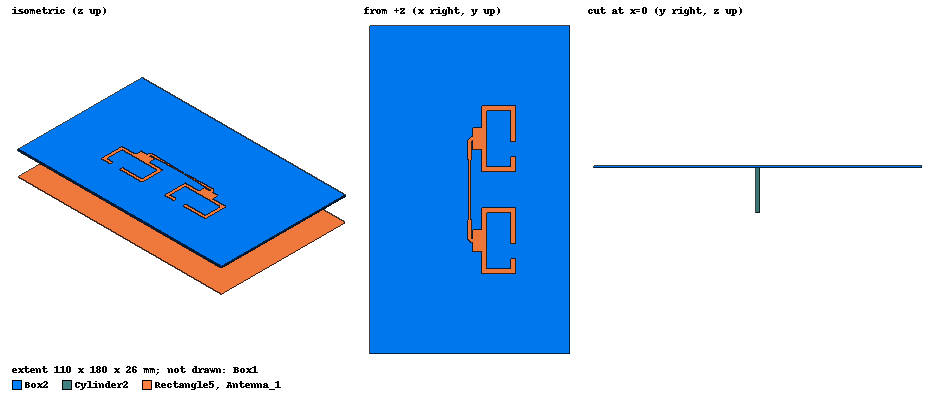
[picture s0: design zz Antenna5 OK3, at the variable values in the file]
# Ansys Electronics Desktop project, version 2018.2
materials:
  vacuum: permittivity=1
  Taconic TLT (tm): permittivity=2.65 dielectric_loss_tangent=0.0006
  pec: conductivity=1e+30
  PTFE: permittivity=3.3
  copper: permeability=0.999991 conductivity=58000000
  Material1: permittivity=2

design zz Antenna5 OK3 (HFSS, DrivenModal, model units mm)
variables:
  SubW = 60mm
  SubL = 54mm
  AirBoxH = 25mm
  SubH = 1mm
  m = 25
  TraceW = 2mm
  ViaR = (0.53/2) mm
  ViaOutR = (1.68/2) mm
  GroundL = 8mm
  GroundW = 2mm
  TraceLGround = 5mm
  TraceUpW = 0.6mm
  TraceUpL = TraceUpW
  PortW = 9mm
  PortH = 5mm
  RingR = 0.75mm
  GroundW2 = GroundL
  MoveX = 16mm
  AntennaW = 18.5mm
  MoveY = SubL/2+TraceW/2
  AntennaL = 36.2mm
  StripW = 2.5mm
  BlankL = 8mm
  BiasBlank = 1.8mm
  SubWAll = 110mm
  SubLAll = 180mm
  MatchL = 12mm
  MatchW = 5mm
  BackGroundH = 20mm
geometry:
  Box1 [vacuum] = box(corner=(-SubWAll/2, -SubLAll/2, -SubH*m), size=(SubWAll, SubLAll, AirBoxH+SubH*m))
  Box2 [Taconic TLT (tm)] = box(corner=(-SubWAll/2, -SubLAll/2, 0mm), size=(SubWAll, SubLAll, SubH))
  Ground = rectangle(corner=(-GroundW2/2, -GroundL/2, 0mm), x_size=GroundW2, y_size=GroundL)
  Trace = rectangle(corner=(-TraceW/2, -SubL/2, SubH), x_size=TraceW, y_size=TraceLGround)
  Cylinder1 [pec] = cylinder(axis=Z, base_centre=(0mm, 0mm, SubH), radius=ViaR, height=-SubH*(m+1))
  Cylinder2 [Material1] = cylinder(axis=Z, base_centre=(0mm, 0mm, 0mm), radius=ViaOutR, height=-SubH*m)
  Circle1 = circle(normal=Z, centre=(0mm, 0mm, 0mm), radius=ViaOutR)
  Ground.subtract(Circle1)
  Trace_Ground = rectangle(corner=(-TraceW/2, -SubL/2, 0), x_size=TraceW, y_size=TraceLGround)
  Polyline1 = polyline(z=0mm, xy: (-GroundW/2, -GroundL/2) (GroundW/2, -GroundL/2) (TraceW/2, -SubL/2+TraceLGround) (-TraceW/2, -SubL/2+TraceLGround) (-GroundW/2, -GroundL/2), closed, covered)
  TraceUp = rectangle(corner=(-TraceUpW/2, -TraceUpL/2, SubH), x_size=TraceUpW, y_size=TraceUpL)
  Polyline2 = polyline(z=SubH, xy: (-TraceUpW/2, -TraceUpL/2) (TraceUpW/2, -TraceUpL/2) (TraceW/2, -SubL/2+TraceLGround) (-TraceW/2, -SubL/2+TraceLGround) (-TraceUpW/2, -TraceUpL/2), closed, covered)
  Trace.unite(TraceUp, Polyline2)
  Trace_Ground.unite(Ground, Polyline1)
  Trace_1 = Trace.duplicate_mirror(point=(0mm, 0mm, 0mm), normal=(0mm, 1mm, 0mm))
  Trace_Ground_1 = Trace_Ground.duplicate_mirror(point=(0mm, 0mm, 0mm), normal=(0mm, 1mm, 0mm))
  Trace.unite(Trace_1)
  Trace_Ground.unite(Trace_Ground_1)
  Cylinder1_1 = Cylinder1.copy()
  Cylinder2.subtract(Cylinder1_1)
  Cylinder2_1 = Cylinder2.copy()
  Box2.subtract(Cylinder2_1)
  Cylinder1_2 = Cylinder1.copy()
  Box2.subtract(Cylinder1_2)
  Circle2 = circle(normal=Z, centre=(0mm, 0mm, SubH), radius=RingR)
  Trace.unite(Circle2)
  Antenna = rectangle(corner=(-AntennaW/2, -AntennaL/2, SubH), x_size=StripW, y_size=AntennaL)
  Rectangle2 = rectangle(corner=(-AntennaW/2, -AntennaL/2, SubH), x_size=AntennaW, y_size=StripW)
  Rectangle3 = rectangle(corner=(-AntennaW/2, AntennaL/2, SubH), x_size=AntennaW, y_size=-StripW)
  Rectangle4 = rectangle(corner=(AntennaW/2, -AntennaL/2, SubH), x_size=-StripW, y_size=AntennaL)
  Antenna.unite(Rectangle2, Rectangle3, Rectangle4)
  Blank = rectangle(corner=(-AntennaW/2, BiasBlank, SubH), x_size=StripW, y_size=BlankL)
  Antenna.subtract(Blank)
  Match = rectangle(corner=(AntennaW/2, -MatchL/2, SubH), x_size=MatchW, y_size=MatchL)
  Antenna.unite(Match)
  Antenna_1 = Antenna.duplicate_mirror(point=(0mm, 0mm, 0mm), normal=(1mm, 0mm, 0mm))
  Antenna_1.mirror(point=(0mm, 0mm, 0mm), normal=(0mm, -1mm, 0mm))
  Antenna.move(-MoveX, -MoveY, 0mm)
  Antenna_1.move(MoveX, -MoveY, 0mm)
  Corner = polyline(z=SubH, xy: (-TraceW/2, -SubL/2) (TraceW/2, -SubL/2) (TraceW/2, -SubL/2-TraceW) (-TraceW/2, -SubL/2), closed, covered)
  Match2 = rectangle(corner=(TraceW/2, -SubL/2-TraceW, SubH), x_size=MoveX-TraceW/2-AntennaW/2, y_size=TraceW)
  Antenna.move(0mm, 0mm, -SubH)
  Corner2 = polyline(z=0mm, xy: (-TraceW/2, -SubL/2) (-TraceW/2, -SubL/2-TraceW) (TraceW/2, -SubL/2) (-TraceW/2, -SubL/2), closed, covered)
  Match2_2 = rectangle(corner=(-TraceW/2, -SubL/2-TraceW, 0), x_size=-(MoveX-TraceW/2-AntennaW/2), y_size=TraceW)
  Antenna.unite(Match2_2)
  Antenna_1.unite(Match2)
  Antenna_2 = Antenna.duplicate_along_line(step=(0mm, MoveY*2, 0mm), total=2)
  Antenna_1_1 = Antenna_1.duplicate_along_line(step=(0mm, MoveY*2, 0mm), total=2)
  Corner_1 = Corner.duplicate_mirror(point=(0mm, 0mm, 0mm), normal=(0mm, 1mm, 0mm))
  Corner2_1 = Corner2.duplicate_mirror(point=(0mm, 0mm, 0mm), normal=(0mm, 1mm, 0mm))
  Antenna_1.unite(Antenna_1_1, Corner_1, Corner)
  Antenna.unite(Antenna_2, Corner2, Corner2_1)
  Antenna.unite(Trace_Ground)
  Antenna_1.unite(Trace)
  Rectangle5 = rectangle(corner=(-SubWAll/2, -SubLAll/2, -BackGroundH), x_size=SubWAll, y_size=SubLAll)
  Circle3 = circle(normal=Z, centre=(0mm, 0mm, -BackGroundH), radius=3mm)
  Rectangle5.subtract(Circle3)
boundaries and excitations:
  PerfE3: Perfect E Faces=Cylinder2.face(1 of 3)
  Rad1: Radiation Objects=Box1
  Antenna: Perfect E Objects=Antenna
  Antenna_1: Perfect E Objects=Antenna_1
  BackGround: Perfect E Objects=Rectangle5
  1: Wave Port Faces=Cylinder2.face(2 of 3) NumModes=1 Modes{Mode1{CharImp=Zpi}}
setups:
  Setup1: HfssDriven Frequency=4GHz MaxDeltaS=0.01 MaximumPasses=20 MinimumPasses=1 MinimumConvergedPasses=1 PercentRefinement=30 BasisOrder=1 PortAccuracy=2
    sweep Sweep: 3GHz to 5GHz, 41 points; Type=Discrete SaveFields SaveRadFields
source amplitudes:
  1:1: 1W 0deg
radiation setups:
  Infinite Sphere1: Infinite Sphere Theta=-180deg..180deg step 1deg Phi=0deg..90deg step 90deg
  Infinite Sphere2: Infinite Sphere Theta=0deg..180deg step 0deg Phi=90deg..180deg step 0deg
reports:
  S Parameter Plot 1: dB(S(1,1)) vs Freq on Setup1 : Sweep [MoveX=all MatchL=all MatchW=all]; markers m1 at 4.4355556GHz
  Gain Plot 1: dB(GainTotal) vs Theta on Setup1 : LastAdaptive, Infinite Sphere1 [Phi=0deg Freq=4GHz MatchL=all]; dB(GainTotal) vs Theta on Setup1 : LastAdaptive, Infinite Sphere1 [Phi=90deg Freq=4GHz MatchL=all]; markers m1 at -4deg, m2 at 1deg, m3 at 22deg, m4 at -28deg, m5 at -16deg, m6 at 15deg
  Port Zo Plot 1: re(Zo(1)) vs Freq on Setup1 : Sweep
  Axial Ratio Plot 1: dB(AxialRatioValue) vs Freq on Setup1 : Sweep, Infinite Sphere2 [Phi=all Theta=all]; markers MY1 at y=3
  Gain Plot 2: dB(RealizedGainTotal) vs Freq on Setup1 : Sweep, Infinite Sphere1 [Phi=0deg Theta=0deg]
  Gain Plot 3: dB(GainTotal) vs Theta on Setup1 : Sweep, Infinite Sphere1 [Phi=all Freq=all]; markers m1 at -2deg, m2 at -27deg, m3 at 22deg, m4 at -16deg, m5 at 15deg
  Gain Plot 4: dB(GainTotal) vs Theta on Setup1 : Sweep, Infinite Sphere1 [Phi=all Freq=all]; markers m1 at -1deg, m2 at -26deg, m3 at 22deg, m4 at -16deg, m5 at 14deg
  Gain Plot 5: dB(GainTotal) vs Theta on Setup1 : Sweep, Infinite Sphere1 [Phi=all Freq=all]; markers m1 at -1deg, m2 at -28deg, m3 at 22deg, m4 at -16deg, m5 at 15deg
  Gain Plot 6: dB(GainTotal) vs Theta on Setup1 : Sweep, Infinite Sphere1 [Phi=all Freq=all]; markers m1 at -3deg, m2 at -29deg, m3 at 22deg, m4 at -16deg, m5 at 16deg
  Gain Plot 7: GainTotal vs Phi, Theta on Setup1 : LastAdaptive, Infinite Sphere1 [Freq=4GHz]
